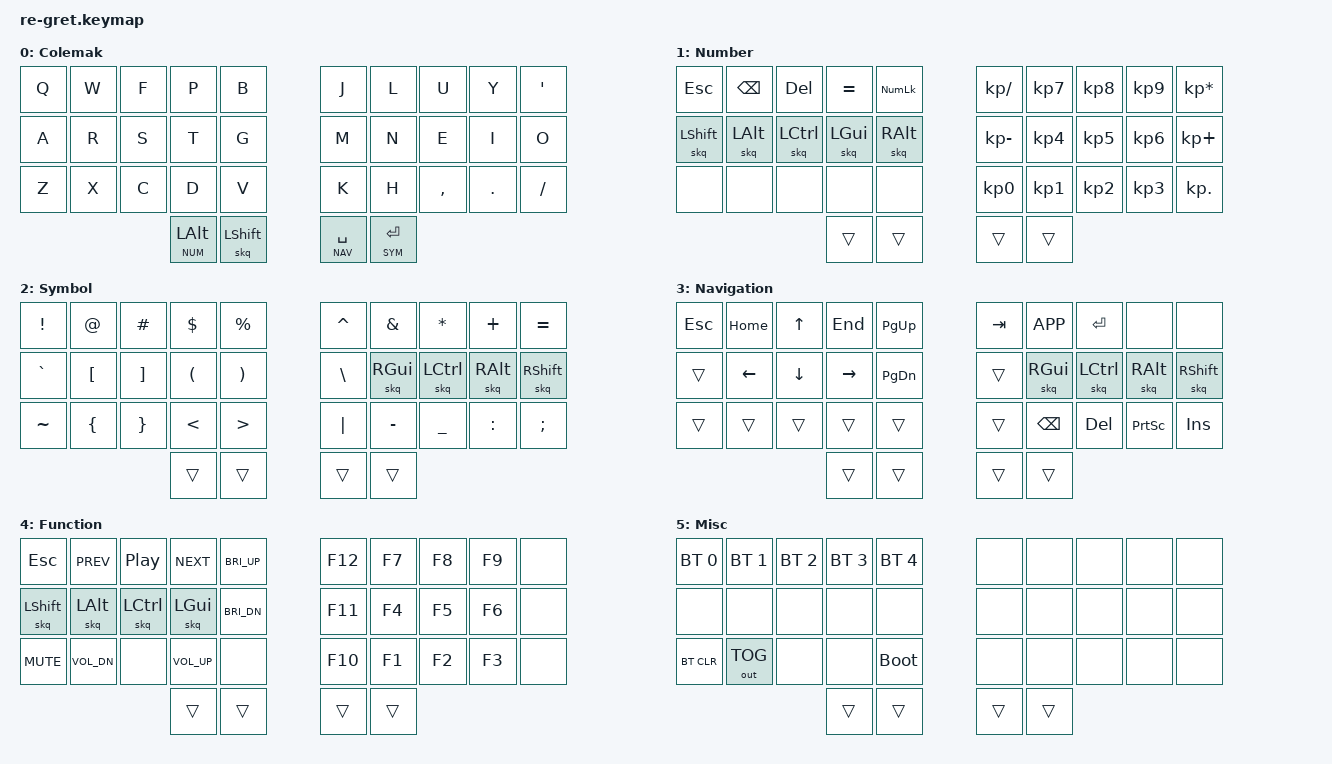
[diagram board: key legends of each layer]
// Re-Gret: port of MurphWrangler/zmk-config-zen-2 (studio).
// Logical key positions: three rows of ten, then four thumbs left-to-right.
#include <behaviors.dtsi>
#include <dt-bindings/zmk/keys.h>
#include <dt-bindings/zmk/bt.h>
#include <dt-bindings/zmk/outputs.h>
#define BASE 0
#define NUM 1
#define SYM 2
#define NAV 3
#define FN 4
#define MISC 5

/ {
    behaviors {
        skq: sticky_key_quick_release {
            compatible = "zmk,behavior-sticky-key";
            #binding-cells = <1>;
            bindings = <&kp>;
            release-after-ms = <300>;
            quick-release;
            ignore-modifiers;
        };
        alt_num: alt_number {
            compatible = "zmk,behavior-hold-tap";
            #binding-cells = <2>;
            bindings = <&mo>, <&skq>;
            flavor = "balanced";
            tapping-term-ms = <200>;
        };
        thumb_lt: thumb_layer_tap {
            compatible = "zmk,behavior-hold-tap";
            #binding-cells = <2>;
            bindings = <&mo>, <&kp>;
            flavor = "balanced";
            tapping-term-ms = <200>;
            quick-tap-ms = <125>;
        };
    };
    conditional_layers {
        compatible = "zmk,conditional-layers";
        function_layer { if-layers = <NUM NAV>; then-layer = <FN>; };
        misc_layer { if-layers = <NUM SYM>; then-layer = <MISC>; };
    };
    combos {
        compatible = "zmk,combos";
        escape { bindings = <&kp ESC>; key-positions = <2 12>; timeout-ms = <50>; require-prior-idle-ms = <150>; };
        tab { bindings = <&kp TAB>; key-positions = <13 23>; timeout-ms = <50>; require-prior-idle-ms = <150>; };
        menu { bindings = <&kp K_APP>; key-positions = <6 16>; timeout-ms = <50>; require-prior-idle-ms = <150>; };
    };
    // Transparent thumbs retain base tap/hold behaviors and layer chords.
    // Only Navigation intentionally inherits finger bindings; other unused slots are no-ops.
    keymap {
        compatible = "zmk,keymap";
        layer_0 {
            display-name = "Colemak";
            bindings = <
                &kp Q  &kp W  &kp F  &kp P  &kp B  &kp J  &kp L  &kp U  &kp Y  &kp SQT
                &kp A  &kp R  &kp S  &kp T  &kp G  &kp M  &kp N  &kp E  &kp I  &kp O
                &kp Z  &kp X  &kp C  &kp D  &kp V  &kp K  &kp H  &kp COMMA  &kp DOT  &kp FSLH
                &alt_num NUM LALT  &skq LSHIFT  &thumb_lt NAV SPACE  &thumb_lt SYM RET
            >;
        };
        layer_1 {
            display-name = "Number";
            bindings = <
                &kp ESC  &kp BSPC  &kp DEL  &kp EQUAL  &kp KP_NUM  &kp KP_SLASH  &kp KP_N7  &kp KP_N8  &kp KP_N9  &kp KP_MULTIPLY
                &skq LSHIFT  &skq LALT  &skq LCTRL  &skq LGUI  &skq RALT  &kp KP_MINUS  &kp KP_N4  &kp KP_N5  &kp KP_N6  &kp KP_PLUS
                &none  &none  &none  &none  &none  &kp KP_N0  &kp KP_N1  &kp KP_N2  &kp KP_N3  &kp KP_DOT
                &trans  &trans  &trans  &trans
            >;
        };
        layer_2 {
            display-name = "Symbol";
            bindings = <
                &kp EXCL  &kp AT  &kp HASH  &kp DLLR  &kp PRCNT  &kp CARET  &kp AMPS  &kp STAR  &kp PLUS  &kp EQUAL
                &kp GRAVE  &kp LBKT  &kp RBKT  &kp LPAR  &kp RPAR  &kp BSLH  &skq RGUI  &skq LCTL  &skq RALT  &skq RSHIFT
                &kp TILDE  &kp LBRC  &kp RBRC  &kp LT  &kp GT  &kp PIPE  &kp MINUS  &kp UNDER  &kp COLON  &kp SEMI
                &trans  &trans  &trans  &trans
            >;
        };
        layer_3 {
            display-name = "Navigation";
            bindings = <
                &kp ESC  &kp HOME  &kp UP  &kp END  &kp PG_UP  &kp TAB  &kp K_APP  &kp RET  &none  &none
                &trans  &kp LEFT  &kp DOWN  &kp RIGHT  &kp PG_DN  &trans  &skq RGUI  &skq LCTL  &skq RALT  &skq RSHIFT
                &trans  &trans  &trans  &trans  &trans  &trans  &kp BSPC  &kp DEL  &kp PSCRN  &kp INS
                &trans  &trans  &trans  &trans
            >;
        };
        layer_4 {
            display-name = "Function";
            bindings = <
                &kp ESC  &kp C_PREV  &kp C_PP  &kp C_NEXT  &kp C_BRI_UP  &kp F12  &kp F7  &kp F8  &kp F9  &none
                &skq LSHIFT  &skq LALT  &skq LCTRL  &skq LGUI  &kp C_BRI_DN  &kp F11  &kp F4  &kp F5  &kp F6  &none
                &kp C_MUTE  &kp C_VOL_DN  &none  &kp C_VOL_UP  &none  &kp F10  &kp F1  &kp F2  &kp F3  &none
                &trans  &trans  &trans  &trans
            >;
        };
        layer_5 {
            display-name = "Misc";
            bindings = <
                &bt BT_SEL 0  &bt BT_SEL 1  &bt BT_SEL 2  &bt BT_SEL 3  &bt BT_SEL 4  &none  &none  &none  &none  &none
                &none  &none  &none  &none  &none  &none  &none  &none  &none  &none
                &bt BT_CLR  &out OUT_TOG  &none  &none  &bootloader  &none  &none  &none  &none  &none
                &trans  &trans  &trans  &trans
            >;
        };
    };
};
